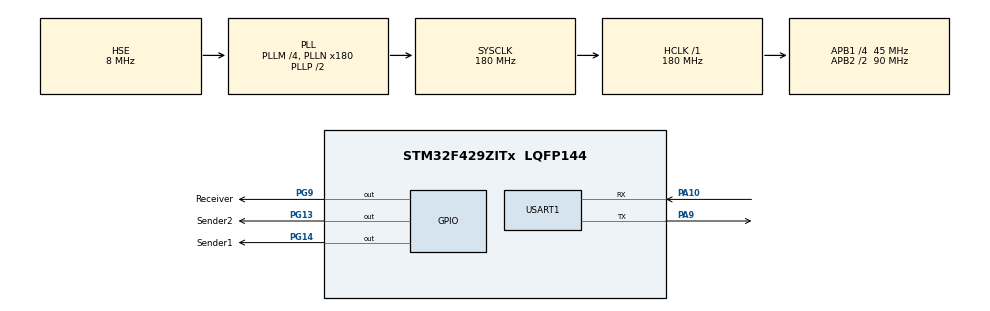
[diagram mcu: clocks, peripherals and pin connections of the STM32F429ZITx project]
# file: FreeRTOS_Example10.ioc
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FREERTOS.Tasks01=defaultTask,0,128,StartDefaultTask,Default,NULL
Mcu.Family=STM32F4
Mcu.Name=STM32F429ZITx
Mcu.Package=LQFP144
NVIC.PriorityGroup=NVIC_PRIORITYGROUP_4
NVIC.TIM6_DAC_IRQn=true\:0\:0\:false\:false\:true\:false\:false
NVIC.TimeBase=TIM6_DAC_IRQn
NVIC.TimeBaseIP=TIM6
PA10.Mode=Asynchronous
PA10.Signal=USART1_RX
PA13.Mode=Serial_Wire
PA13.Signal=SYS_JTMS-SWDIO
PA14.Mode=Serial_Wire
PA14.Signal=SYS_JTCK-SWCLK
PA9.Mode=Asynchronous
PA9.Signal=USART1_TX
PG13.GPIO_Label=Sender2
PG13.Signal=GPIO_Output
PG14.GPIO_Label=Sender1
PG14.Signal=GPIO_Output
PG9.GPIO_Label=Receiver
PG9.Signal=GPIO_Output
PH0/OSC_IN.Mode=HSE-External-Oscillator
PH0/OSC_IN.Signal=RCC_OSC_IN
PH1/OSC_OUT.Mode=HSE-External-Oscillator
PH1/OSC_OUT.Signal=RCC_OSC_OUT
ProjectManager.HeapSize=0x200
ProjectManager.StackSize=0x400
ProjectManager.TargetToolchain=TrueSTUDIO
RCC.48MHZClocksFreq_Value=90000000
RCC.AHBFreq_Value=180000000
RCC.APB1CLKDivider=RCC_HCLK_DIV4
RCC.APB1Freq_Value=45000000
RCC.APB1TimFreq_Value=90000000
RCC.APB2CLKDivider=RCC_HCLK_DIV2
RCC.APB2Freq_Value=90000000
RCC.APB2TimFreq_Value=180000000
RCC.CortexFreq_Value=180000000
RCC.HCLKFreq_Value=180000000
RCC.HSE_VALUE=8000000
RCC.HSI_VALUE=16000000
RCC.LSE_VALUE=32768
RCC.PLLM=4
RCC.PLLN=180
RCC.PLLSourceVirtual=RCC_PLLSOURCE_HSE
RCC.SYSCLKFreq_VALUE=180000000
RCC.SYSCLKSource=RCC_SYSCLKSOURCE_PLLCLK
RCC.VCOOutputFreq_Value=360000000
USART1.VirtualMode=VM_ASYNC
VP_FREERTOS_VS_ENABLE.Mode=Enabled
VP_SYS_VS_tim6.Mode=TIM6
board=custom

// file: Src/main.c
/* USER CODE BEGIN Header */
/**
  ******************************************************************************
  * @file           : main.c
  * @brief          : Main program body
  ******************************************************************************
  * This notice applies to any and all portions of this file
  * that are not between comment pairs USER CODE BEGIN and
  * USER CODE END. Other portions of this file, whether
  * inserted by the user or by software development tools
  * are owned by their respective copyright owners.
  *
  * Copyright (c) 2019 STMicroelectronics International N.V.
  * All rights reserved.
  *
  * Redistribution and use in source and binary forms, with or without
  * modification, are permitted, provided that the following conditions are met:
  *
  * 1. Redistribution of source code must retain the above copyright notice,
  *    this list of conditions and the following disclaimer.
  * 2. Redistributions in binary form must reproduce the above copyright notice,
  *    this list of conditions and the following disclaimer in the documentation
  *    and/or other materials provided with the distribution.
  * 3. Neither the name of STMicroelectronics nor the names of other
  *    contributors to this software may be used to endorse or promote products
  *    derived from this software without specific written permission.
  * 4. This software, including modifications and/or derivative works of this
  *    software, must execute solely and exclusively on microcontroller or
  *    microprocessor devices manufactured by or for STMicroelectronics.
  * 5. Redistribution and use of this software other than as permitted under
  *    this license is void and will automatically terminate your rights under
  *    this license.
  *
  * THIS SOFTWARE IS PROVIDED BY STMICROELECTRONICS AND CONTRIBUTORS "AS IS"
  * AND ANY EXPRESS, IMPLIED OR STATUTORY WARRANTIES, INCLUDING, BUT NOT
  * LIMITED TO, THE IMPLIED WARRANTIES OF MERCHANTABILITY, FITNESS FOR A
  * PARTICULAR PURPOSE AND NON-INFRINGEMENT OF THIRD PARTY INTELLECTUAL PROPERTY
  * RIGHTS ARE DISCLAIMED TO THE FULLEST EXTENT PERMITTED BY LAW. IN NO EVENT
  * SHALL STMICROELECTRONICS OR CONTRIBUTORS BE LIABLE FOR ANY DIRECT, INDIRECT,
  * INCIDENTAL, SPECIAL, EXEMPLARY, OR CONSEQUENTIAL DAMAGES (INCLUDING, BUT NOT
  * LIMITED TO, PROCUREMENT OF SUBSTITUTE GOODS OR SERVICES; LOSS OF USE, DATA,
  * OR PROFITS; OR BUSINESS INTERRUPTION) HOWEVER CAUSED AND ON ANY THEORY OF
  * LIABILITY, WHETHER IN CONTRACT, STRICT LIABILITY, OR TORT (INCLUDING
  * NEGLIGENCE OR OTHERWISE) ARISING IN ANY WAY OUT OF THE USE OF THIS SOFTWARE,
  * EVEN IF ADVISED OF THE POSSIBILITY OF SUCH DAMAGE.
  *
  ******************************************************************************
  */
/* USER CODE END Header */

#include "main.h"
#include "cmsis_os.h"

/* USER CODE BEGIN Includes */
#include <string.h>
/* USER CODE END Includes */

/* USER CODE BEGIN PD */
#define  mainDELAY_LOOP_COUNT  (10)
/* USER CODE END PD */

UART_HandleTypeDef huart1;

osThreadId defaultTaskHandle;

void SystemClock_Config(void);
static void MX_GPIO_Init(void);
static void MX_USART1_UART_Init(void);
void StartDefaultTask(void const * argument);

/* USER CODE BEGIN 0 */
xQueueHandle  xQueue;

void vSenderTask1(void *pvParameter);
void vSenderTask2(void *pvParameter);
void vReceiverTask(void *pvParameter);
/* USER CODE END 0 */

int main(void)
{

  /* MCU Configuration--------------------------------------------------------*/

  /* Reset of all peripherals, Initializes the Flash interface and the Systick. */
  HAL_Init();

  /* Configure the system clock */
  SystemClock_Config();

  /* Initialize all configured peripherals */
  MX_GPIO_Init();
  MX_USART1_UART_Init();

  /* Create the thread(s) */
  /* definition and creation of defaultTask */
  osThreadDef(defaultTask, StartDefaultTask, osPriorityNormal, 0, 128);
  defaultTaskHandle = osThreadCreate(osThread(defaultTask), NULL);

  /* USER CODE BEGIN RTOS_THREADS */
  /* add threads, ... */
  xTaskCreate(vSenderTask1, "Sender1", 1000, (void *)"A", 1, NULL);
  xTaskCreate(vSenderTask1, "Sender2", 1000, (void *)"B", 1, NULL);

  xTaskCreate(vReceiverTask, "Receiver", 1000, NULL, 2, NULL);
  /* USER CODE END RTOS_THREADS */

  /* USER CODE BEGIN RTOS_QUEUES */
  /* add queues, ... */
  //xQueue = xQueueCreate(5, sizeof(long));
  xQueue = xQueueCreate(100, sizeof(long));
  /* USER CODE END RTOS_QUEUES */

  /* Start scheduler */
  osKernelStart();

  /* We should never get here as control is now taken by the scheduler */

  /* Infinite loop */
  while (1)
  {

  }
}

void SystemClock_Config(void)
{
  RCC_OscInitTypeDef RCC_OscInitStruct = {0};
  RCC_ClkInitTypeDef RCC_ClkInitStruct = {0};

  /**Configure the main internal regulator output voltage
  */
  __HAL_RCC_PWR_CLK_ENABLE();
  __HAL_PWR_VOLTAGESCALING_CONFIG(PWR_REGULATOR_VOLTAGE_SCALE1);
  /**Initializes the CPU, AHB and APB busses clocks
  */
  RCC_OscInitStruct.OscillatorType = RCC_OSCILLATORTYPE_HSE;
  RCC_OscInitStruct.HSEState = RCC_HSE_ON;
  RCC_OscInitStruct.PLL.PLLState = RCC_PLL_ON;
  RCC_OscInitStruct.PLL.PLLSource = RCC_PLLSOURCE_HSE;
  RCC_OscInitStruct.PLL.PLLM = 4;
  RCC_OscInitStruct.PLL.PLLN = 180;
  RCC_OscInitStruct.PLL.PLLP = RCC_PLLP_DIV2;
  RCC_OscInitStruct.PLL.PLLQ = 4;
  if (HAL_RCC_OscConfig(&RCC_OscInitStruct) != HAL_OK)
  {
    Error_Handler();
  }
  /**Activate the Over-Drive mode
  */
  if (HAL_PWREx_EnableOverDrive() != HAL_OK)
  {
    Error_Handler();
  }
  /**Initializes the CPU, AHB and APB busses clocks
  */
  RCC_ClkInitStruct.ClockType = RCC_CLOCKTYPE_HCLK|RCC_CLOCKTYPE_SYSCLK
                              |RCC_CLOCKTYPE_PCLK1|RCC_CLOCKTYPE_PCLK2;
  RCC_ClkInitStruct.SYSCLKSource = RCC_SYSCLKSOURCE_PLLCLK;
  RCC_ClkInitStruct.AHBCLKDivider = RCC_SYSCLK_DIV1;
  RCC_ClkInitStruct.APB1CLKDivider = RCC_HCLK_DIV4;
  RCC_ClkInitStruct.APB2CLKDivider = RCC_HCLK_DIV2;

  if (HAL_RCC_ClockConfig(&RCC_ClkInitStruct, FLASH_LATENCY_5) != HAL_OK)
  {
    Error_Handler();
  }
}

static void MX_USART1_UART_Init(void)
{

  huart1.Instance = USART1;
  huart1.Init.BaudRate = 115200;
  huart1.Init.WordLength = UART_WORDLENGTH_8B;
  huart1.Init.StopBits = UART_STOPBITS_1;
  huart1.Init.Parity = UART_PARITY_NONE;
  huart1.Init.Mode = UART_MODE_TX_RX;
  huart1.Init.HwFlowCtl = UART_HWCONTROL_NONE;
  huart1.Init.OverSampling = UART_OVERSAMPLING_16;
  if (HAL_UART_Init(&huart1) != HAL_OK)
  {
    Error_Handler();
  }

}

static void MX_GPIO_Init(void)
{
  GPIO_InitTypeDef GPIO_InitStruct = {0};

  /* GPIO Ports Clock Enable */
  __HAL_RCC_GPIOH_CLK_ENABLE();
  __HAL_RCC_GPIOA_CLK_ENABLE();
  __HAL_RCC_GPIOG_CLK_ENABLE();

  /*Configure GPIO pin Output Level */
  HAL_GPIO_WritePin(GPIOG, Receiver_Pin|Sender2_Pin|Sender1_Pin, GPIO_PIN_RESET);

  /*Configure GPIO pins : Receiver_Pin Sender2_Pin Sender1_Pin */
  GPIO_InitStruct.Pin = Receiver_Pin|Sender2_Pin|Sender1_Pin;
  GPIO_InitStruct.Mode = GPIO_MODE_OUTPUT_PP;
  GPIO_InitStruct.Pull = GPIO_NOPULL;
  GPIO_InitStruct.Speed = GPIO_SPEED_FREQ_LOW;
  HAL_GPIO_Init(GPIOG, &GPIO_InitStruct);

}

/* USER CODE BEGIN 4 */
/*
void vPrintString(char *pStr)
{
    while(*pStr){
        while(!LL_USART_IsActiveFlag_TXE(USART1));
        LL_USART_TransmitData8(USART1, *pStr);
        pStr++;
    }
}
*/
void vSenderTask1(void *pvParameters)
{

	long lValueToSend;
	portBASE_TYPE xStatus;
	lValueToSend = (long)pvParameters;

    for(;;)
    {
    	HAL_GPIO_WritePin(Sender1_GPIO_Port, Sender1_Pin, GPIO_PIN_SET);

    	xStatus = xQueueSendToBack(xQueue, &lValueToSend, 0);

    	if(xStatus != pdPASS)
    	{
    		HAL_UART_Transmit(&huart1, (uint8_t *)"could not send to the queue.\r\n", strlen("could not send to the queue.\r\n"), 0xFFFFFFFF);
    	}
     	taskYIELD();

      	//vTaskDelay(250 / portTICK_RATE_MS );
      HAL_GPIO_WritePin(Sender1_GPIO_Port, Sender1_Pin, GPIO_PIN_RESET);
    }
}

void vSenderTask2(void *pvParameters)
{

	long lValueToSend;
	portBASE_TYPE xStatus;
	lValueToSend = (long)pvParameters;

    for(;;)
    {
    	HAL_GPIO_WritePin(Sender2_GPIO_Port, Sender2_Pin, GPIO_PIN_SET);

    	xStatus = xQueueSendToBack(xQueue, &lValueToSend, 0);
    	if(xStatus != pdPASS)
    	{
    		HAL_UART_Transmit(&huart1, (uint8_t *)"could not send to the queue.\r\n", strlen("could not send to the queue.\r\n"), 0xFFFFFFFF);
    	}
      	taskYIELD();

      	//vTaskDelay(250 / portTICK_RATE_MS );
        HAL_GPIO_WritePin(Sender2_GPIO_Port, Sender2_Pin, GPIO_PIN_RESET);
    }
}

void vReceiverTask(void *pvParameters)
{
	long lReceivedValue;
	portBASE_TYPE xStatus;
	const portTickType xTicksToWait = 100/portTICK_RATE_MS;

    for(;;)
    {
      HAL_GPIO_WritePin(Receiver_GPIO_Port, Receiver_Pin, GPIO_PIN_SET);

      if(uxQueueMessagesWaiting(xQueue) !=  0)
      {
    	  HAL_UART_Transmit(&huart1, (uint8_t *)"Queue should have been empty.\r\n", strlen("Queue should have been empty.\r\n"), 0xFFFFFFFF);
      }

      xStatus = xQueueReceive(xQueue, &lReceivedValue, xTicksToWait);

      if(xStatus == pdPASS)
      {
    	  lReceivedValue += '0';
    	  HAL_UART_Transmit(&huart1, (uint8_t *)&lReceivedValue, 1, 0xFFFFFFFF);
    	  HAL_UART_Transmit(&huart1, (uint8_t *)"\r\n", strlen("\r\n"), 0xFFFFFFFF);
      }
      else
      {
    	  HAL_UART_Transmit(&huart1, (uint8_t *)"could not receive from the queue.\r\n", strlen("could not receive from the queue.\r\n"), 0xFFFFFFFF);
      }

      //vTaskDelay(200 / portTICK_RATE_MS );
      HAL_GPIO_WritePin(Receiver_GPIO_Port, Receiver_Pin, GPIO_PIN_RESET);
    }
}

/* USER CODE END 4 */

void StartDefaultTask(void const * argument)
{

  for(;;)
  {
    osDelay(1);
  }
}

void HAL_TIM_PeriodElapsedCallback(TIM_HandleTypeDef *htim)
{
  if (htim->Instance == TIM6) {
    HAL_IncTick();
  }
}

void Error_Handler(void)
{
}

/************************ (C) COPYRIGHT STMicroelectronics *****END OF FILE****/
